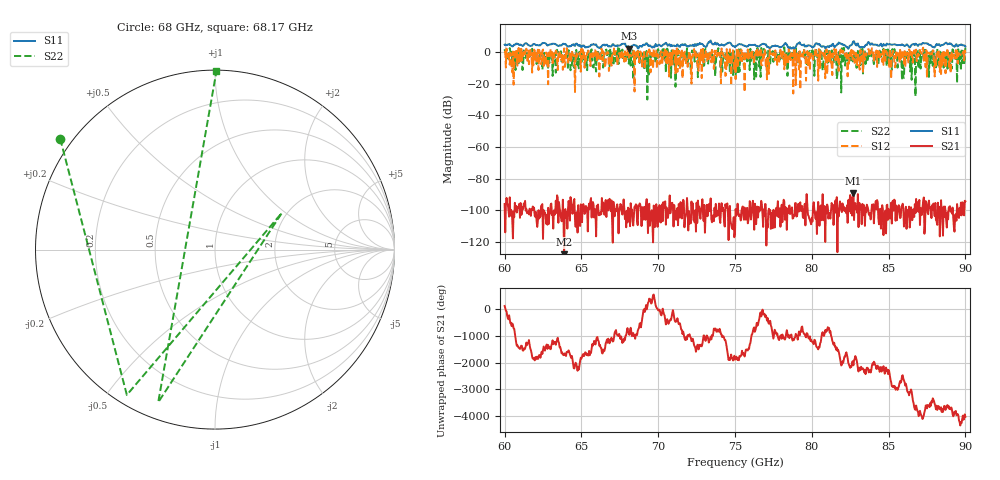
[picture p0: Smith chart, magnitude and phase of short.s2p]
!Created with skrf (http://scikit-rf.org).
# GHz S RI R 50.0
!freq ReS11 ImS11 ReS21 ImS21 ReS12 ImS12 ReS22 ImS22
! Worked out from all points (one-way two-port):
!   721 points, 60 GHz to 90 GHz, reference 50 ohm
!   highest |S21| = -89.15 dB at 82.71 GHz (marker M1); lowest = -129.3 dB at 63.88 GHz (marker M2)
!   lowest |S11| = 2.0 dB at 68.08 GHz (marker M3)
!   |S11| at or under -10 dB: nowhere
!   |S22| runs from -30.1 to 3.0 dB; largest |S21 - S12| = 1.4
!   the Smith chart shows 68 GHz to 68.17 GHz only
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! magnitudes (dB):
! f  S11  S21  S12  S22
! 60 GHz  4.6  -96.1  -0.1  1.7
! 60.5 GHz  3.5  -106.5  -12.9  -7.8
! 60.79 GHz  5.2  -101.5  0.6  -6.7
! 63.88 GHz  5.0  -129.3  2.2  -2.0
! 65 GHz  3.0  -97.0  2.0  -6.4
! 65.83 GHz  4.7  -104.6  -2.7  -7.0
! 66.62 GHz  4.4  -104.3  -0.7  1.5
! 68.08 GHz  2.0  -101.1  -4.2  -7.4
! 69.25 GHz  5.5  -93.0  -2.8  0.7
! 70 GHz  4.4  -98.3  -1.9  1.8
! 75 GHz  3.1  -114.2  -5.3  -3.2
! 75.38 GHz  4.8  -106.5  -0.3  1.7
! 76.29 GHz  4.6  -95.9  -0.4  -7.6
! 76.83 GHz  5.1  -110.6  -0.3  1.0
! 80 GHz  3.2  -104.7  -0.5  -0.3
! 82.71 GHz  6.7  -89.1  0.5  -6.7
! 85 GHz  4.7  -99.3  -3.2  -3.8
! 85.92 GHz  4.4  -95.9  -0.6  -4.9
! 86.17 GHz  4.8  -111.8  -0.8  -4.9
! 86.62 GHz  5.0  -99.5  -0.3  -0.4
! 87.46 GHz  5.4  -94.9  1.1  -1.0
! 90 GHz  3.5  -94.4  -0.8  2.7
